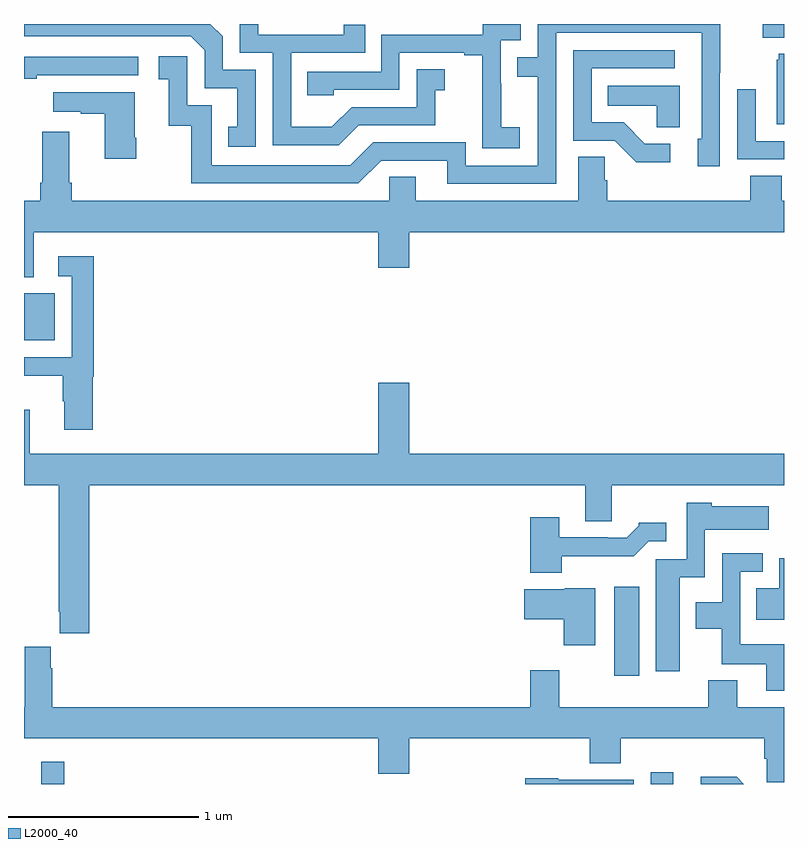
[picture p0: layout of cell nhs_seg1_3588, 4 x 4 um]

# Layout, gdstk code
import gdstk
lib = gdstk.Library(unit=1e-6, precision=1e-09)
def R(c, l, rs):  # rectangles x0, y0, x1, y1
    for r in rs: c.add(gdstk.rectangle(r[:2], r[2:], *l))
def P(c, l, *ps):  # polygons
    for p in ps: c.add(gdstk.Polygon(p, *l))
L2000_40 = (2000, 40)

nhs_seg1_3588 = lib.new_cell('nhs_seg1_3588')
R(nhs_seg1_3588, L2000_40, [(307.091,510.199,307.213,510.316), (310.299,510.199,310.417,510.262), (310.106,510.768,310.237,511.237), (307,512.534,307.162,512.782), (310.889,514.127,311,514.199)])
P(nhs_seg1_3588, L2000_40, [(309.801,514.152),(310.566,514.152),(310.566,513.594),(310.547,513.594),(310.547,513.45),(310.662,513.45),(310.662,513.943),(310.665,513.943),(310.665,514.199),(309.705,514.199),(309.705,514.023),(309.595,514.023),(309.595,513.922),(309.705,513.922),(309.705,513.453),(309.324,513.453),(309.324,513.576),(308.838,513.576),(308.718,513.456),(307.989,513.456),(307.989,513.771),(307.86,513.771),(307.86,514.03),(307.71,514.03),(307.71,513.909),(307.763,513.909),(307.763,513.663),(307.881,513.663),(307.881,513.36),(308.76,513.36),(308.88,513.48),(309.227,513.48),(309.227,513.357),(309.801,513.357)],
  [(308.22,513.957),(308.046,513.957),(308.046,514.134),(307.981,514.199),(307,514.199),(307,514.134),(307.878,514.134),(307.95,514.062),(307.95,513.861),(308.123,513.861),(308.123,513.657),(308.074,513.657),(308.074,513.552),(308.22,513.552)],
  [(308.761,513.666),(309.165,513.666),(309.165,513.851),(309.214,513.851),(309.214,513.961),(309.066,513.961),(309.066,513.762),(308.724,513.762),(308.62,513.658),(308.406,513.658),(308.406,514.047),(308.795,514.047),(308.795,514.195),(308.684,514.195),(308.684,514.143),(308.233,514.143),(308.233,514.199),(308.136,514.199),(308.136,514.047),(308.31,514.047),(308.31,513.561),(308.656,513.561)],
  [(309.61,513.655),(309.512,513.655),(309.512,513.884),(309.51,513.884),(309.51,514.113),(309.615,514.113),(309.615,514.199),(309.414,514.199),(309.414,514.143),(308.88,514.143),(308.88,513.948),(308.491,513.948),(308.491,513.825),(308.631,513.825),(308.631,513.852),(308.976,513.852),(308.976,514.047),(309.317,514.047),(309.317,514.035),(309.413,514.035),(309.413,513.751),(309.412,513.751),(309.412,513.545),(309.61,513.545)],
  [(310.402,513.57),(310.267,513.57),(310.156,513.681),(309.987,513.681),(309.987,513.966),(310.426,513.966),(310.426,514.062),(309.891,514.062),(309.891,513.585),(310.11,513.585),(310.223,513.472),(310.402,513.472)],
  [(311,514.042),(310.973,514.042),(310.973,514.011),(310.961,514.011),(310.961,513.671),(311,513.671)],
  [(307.067,513.93),(307.6,513.93),(307.6,514.026),(307,514.026),(307,513.91),(307.067,513.91)],
  [(310.45,513.874),(310.072,513.874),(310.072,513.77),(310.329,513.77),(310.329,513.655),(310.45,513.655)],
  [(311,513.582),(310.851,513.582),(310.851,513.856),(310.755,513.856),(310.755,513.486),(311,513.486)],
  [(307.59,513.601),(307.582,513.601),(307.582,513.841),(307.155,513.841),(307.155,513.737),(307.298,513.737),(307.298,513.727),(307.424,513.727),(307.424,513.489),(307.59,513.489)],
  [(307.051,513.104),(308.864,513.104),(308.864,512.916),(309.028,512.916),(309.028,513.104),(311,513.104),(311,513.268),(310.988,513.268),(310.988,513.401),(310.823,513.401),(310.823,513.268),(310.07,513.268),(310.07,513.377),(310.056,513.377),(310.056,513.5),(309.917,513.5),(309.917,513.268),(309.061,513.268),(309.061,513.395),(308.922,513.395),(308.922,513.268),(307.25,513.268),(307.25,513.364),(307.237,513.364),(307.237,513.631),(307.097,513.631),(307.097,513.364),(307.085,513.364),(307.085,513.268),(307,513.268),(307,512.867),(307.051,512.867)],
  [(307.361,512.342),(307.367,512.342),(307.367,512.977),(307.179,512.977),(307.179,512.871),(307.251,512.871),(307.251,512.445),(307,512.445),(307,512.348),(307.204,512.348),(307.204,512.214),(307.211,512.214),(307.211,512.064),(307.361,512.064)],
  [(307.343,511.772),(309.953,511.772),(309.953,511.582),(310.093,511.582),(310.093,511.772),(311,511.772),(311,511.936),(309.028,511.936),(309.028,512.311),(308.864,512.311),(308.864,511.936),(307.031,511.936),(307.031,512.17),(307,512.17),(307,511.772),(307.183,511.772),(307.183,511.105),(307.187,511.105),(307.187,510.993),(307.343,510.993)],
  [(310.45,511.286),(310.584,511.286),(310.584,511.538),(310.921,511.538),(310.921,511.66),(310.62,511.66),(310.62,511.678),(310.488,511.678),(310.488,511.383),(310.325,511.383),(310.325,510.792),(310.45,510.792)],
  [(309.83,511.398),(310.209,511.398),(310.287,511.476),(310.381,511.476),(310.381,511.573),(310.236,511.573),(310.236,511.558),(310.172,511.494),(310.073,511.494),(310.073,511.497),(309.817,511.497),(309.817,511.603),(309.665,511.603),(309.665,511.31),(309.83,511.31)],
  [(311,510.934),(310.77,510.934),(310.77,511.317),(310.888,511.317),(310.888,511.413),(310.674,511.413),(310.674,511.156),(310.535,511.156),(310.535,511.016),(310.672,511.016),(310.672,510.83),(310.907,510.83),(310.907,510.69),(311,510.69)],
  [(311,511.386),(310.976,511.386),(310.976,511.228),(310.855,511.228),(310.855,511.064),(311,511.064)],
  [(310.006,511.228),(309.846,511.228),(309.846,511.225),(309.633,511.225),(309.633,511.067),(309.842,511.067),(309.842,510.93),(310.006,510.93)],
  [(311,510.604),(310.753,510.604),(310.753,510.745),(310.601,510.745),(310.601,510.604),(309.817,510.604),(309.817,510.799),(309.665,510.799),(309.665,510.604),(307.148,510.604),(307.148,510.809),(307.141,510.809),(307.141,510.922),(307.004,510.922),(307.004,510.604),(307,510.604),(307,510.44),(308.864,510.44),(308.864,510.252),(309.028,510.252),(309.028,510.44),(309.977,510.44),(309.977,510.307),(310.142,510.307),(310.142,510.44),(310.895,510.44),(310.895,510.331),(310.908,510.331),(310.908,510.208),(311,510.208)],
  [(310.75,510.236),(310.563,510.236),(310.563,510.199),(310.787,510.199)],
  [(310.209,510.222),(309.813,510.222),(309.813,510.229),(309.637,510.229),(309.637,510.199),(310.209,510.199)])

lib.write_gds('nhs_seg1_3588.gds')
